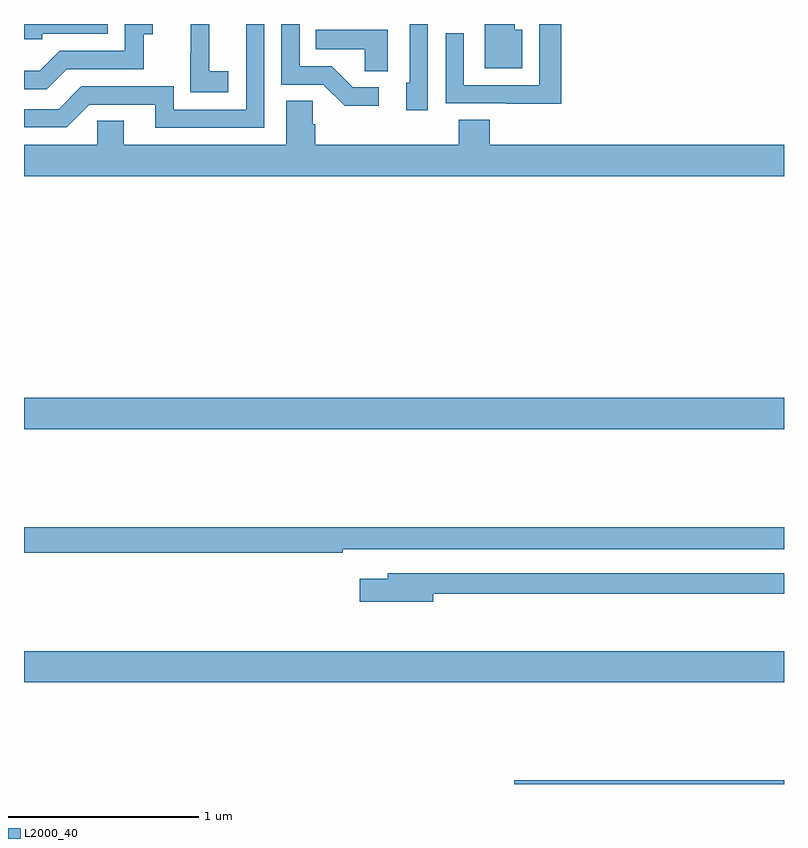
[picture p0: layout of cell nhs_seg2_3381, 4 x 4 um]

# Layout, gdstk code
import gdstk
lib = gdstk.Library(unit=1e-6, precision=1e-09)
def R(c, l, rs):  # rectangles x0, y0, x1, y1
    for r in rs: c.add(gdstk.rectangle(r[:2], r[2:], *l))
def P(c, l, *ps):  # polygons
    for p in ps: c.add(gdstk.Polygon(p, *l))
L2000_40 = (2000, 40)

nhs_seg2_3381 = lib.new_cell('nhs_seg2_3381')
R(nhs_seg2_3381, L2000_40, [(291.581,613.8,293,613.82), (289,614.336,293,614.5), (289,615.668,293,615.832)])
P(nhs_seg2_3381, L2000_40, [(291.827,617.8),(291.711,617.8),(291.711,617.478),(291.315,617.478),(291.315,617.752),(291.219,617.752),(291.219,617.382),(291.535,617.382),(291.535,617.381),(291.827,617.381)],
  [(291.622,617.77),(291.583,617.77),(291.583,617.8),(291.425,617.8),(291.425,617.567),(291.622,617.567)],
  [(290.866,617.466),(290.731,617.466),(290.62,617.577),(290.451,617.577),(290.451,617.8),(290.355,617.8),(290.355,617.481),(290.574,617.481),(290.687,617.369),(290.866,617.369)],
  [(290.074,617.551),(289.976,617.551),(289.976,617.78),(289.974,617.78),(289.974,617.8),(289.877,617.8),(289.877,617.647),(289.876,617.647),(289.876,617.441),(290.074,617.441)],
  [(290.265,617.8),(290.169,617.8),(290.169,617.349),(289.788,617.349),(289.788,617.472),(289.302,617.472),(289.182,617.352),(289,617.352),(289,617.256),(289.224,617.256),(289.344,617.376),(289.691,617.376),(289.691,617.253),(290.265,617.253)],
  [(289.095,617.748),(289.44,617.748),(289.44,617.8),(289,617.8),(289,617.721),(289.095,617.721)],
  [(291.126,617.8),(291.03,617.8),(291.03,617.49),(291.011,617.49),(291.011,617.346),(291.126,617.346)],
  [(289.225,617.562),(289.629,617.562),(289.629,617.747),(289.678,617.747),(289.678,617.8),(289.53,617.8),(289.53,617.658),(289.188,617.658),(289.084,617.554),(289,617.554),(289,617.457),(289.12,617.457)],
  [(290.914,617.77),(290.536,617.77),(290.536,617.666),(290.793,617.666),(290.793,617.551),(290.914,617.551)],
  [(293,617.164),(291.452,617.164),(291.452,617.297),(291.287,617.297),(291.287,617.164),(290.534,617.164),(290.534,617.273),(290.52,617.273),(290.52,617.396),(290.381,617.396),(290.381,617.164),(289.525,617.164),(289.525,617.291),(289.386,617.291),(289.386,617.164),(289,617.164),(289,617),(293,617)],
  [(290.678,615.036),(293,615.036),(293,615.152),(289,615.152),(289,615.016),(290.678,615.016)],
  [(291.154,614.802),(293,614.802),(293,614.91),(290.915,614.91),(290.915,614.881),(290.766,614.881),(290.766,614.759),(291.154,614.759)])

lib.write_gds('nhs_seg2_3381.gds')
